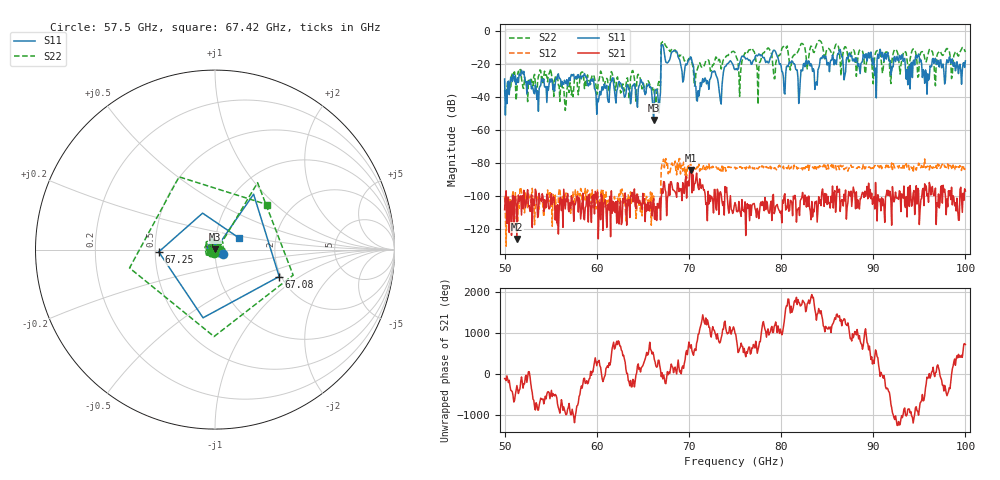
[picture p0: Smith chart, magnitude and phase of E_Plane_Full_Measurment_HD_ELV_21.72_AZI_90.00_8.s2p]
! 11/26/2026 3:17:51 PM
! C:\ANRITSUVNA\TEMP\TEMP.S2P
! CHANNEL.1
! TR.MEASUREMENT
! RAW.DATA
# HZ S RI R 50.0
! FREQ.HZ  S11RE  S11IM  S21RE  S21IM  S12RE  S12IM  S22RE  S22IM
!; PortSelection: Port_12
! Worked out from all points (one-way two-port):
!   601 points, 50 GHz to 100 GHz, reference 50 ohm
!   highest |S21| = -84.22 dB at 70.25 GHz (marker M1); lowest = -126.0 dB at 51.33 GHz (marker M2)
!   lowest |S11| = -53.8 dB at 66.17 GHz (marker M3), VSWR 1.00, Z = 50.1 + j0.15 ohm
!   |S11| at or under -10 dB: start of sweep to 67 GHz; 67.25 GHz to end of sweep
!   |S22| runs from -48.0 to -5.6 dB; largest |S21 - S12| = 0.00016
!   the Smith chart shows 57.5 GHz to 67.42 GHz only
!   S11 on the Smith chart (normalised r, x): 57.5 GHz: 1.09, -0.05; 67.08 GHz: 1.95, -0.69; 67.25 GHz: 0.52, -0.01; 67.42 GHz: 1.29, +0.17
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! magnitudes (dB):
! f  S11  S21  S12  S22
! 50 GHz  -29.0  -108.3  -100.4  -35.8
! 51.33 GHz  -30.2  -126.0  -105.1  -36.9
! 53.42 GHz  -34.8  -97.3  -105.1  -35.4
! 57.5 GHz  -26.2  -115.4  -110.9  -34.7
! 58.42 GHz  -27.2  -104.8  -108.5  -24.7
! 60.17 GHz  -42.8  -126.0  -103.9  -30.4
! 66.17 GHz  -53.8  -101.6  -100.0  -34.0
! 66.67 GHz  -41.5  -107.2  -103.7  -31.7
! 67.08 GHz  -8.2  -95.6  -80.6  -6.8
! 67.25 GHz  -10.1  -91.3  -77.6  -6.3
! 67.42 GHz  -16.6  -96.2  -79.8  -8.3
! 70.25 GHz  -15.9  -84.2  -82.5  -18.8
! 70.92 GHz  -42.4  -91.7  -81.3  -23.1
! 75 GHz  -23.4  -104.0  -82.6  -13.0
! 79.25 GHz  -11.5  -110.7  -83.4  -28.8
! 80.25 GHz  -27.8  -104.3  -81.9  -9.3
! 83.42 GHz  -24.4  -112.7  -82.5  -10.8
! 91.67 GHz  -16.6  -96.6  -82.7  -15.2
! 93.75 GHz  -32.5  -95.0  -82.7  -21.3
! 94.83 GHz  -15.1  -95.3  -82.3  -27.9
! 95.83 GHz  -38.2  -99.9  -82.1  -16.5
! 100 GHz  -18.0  -96.9  -83.3  -12.6
